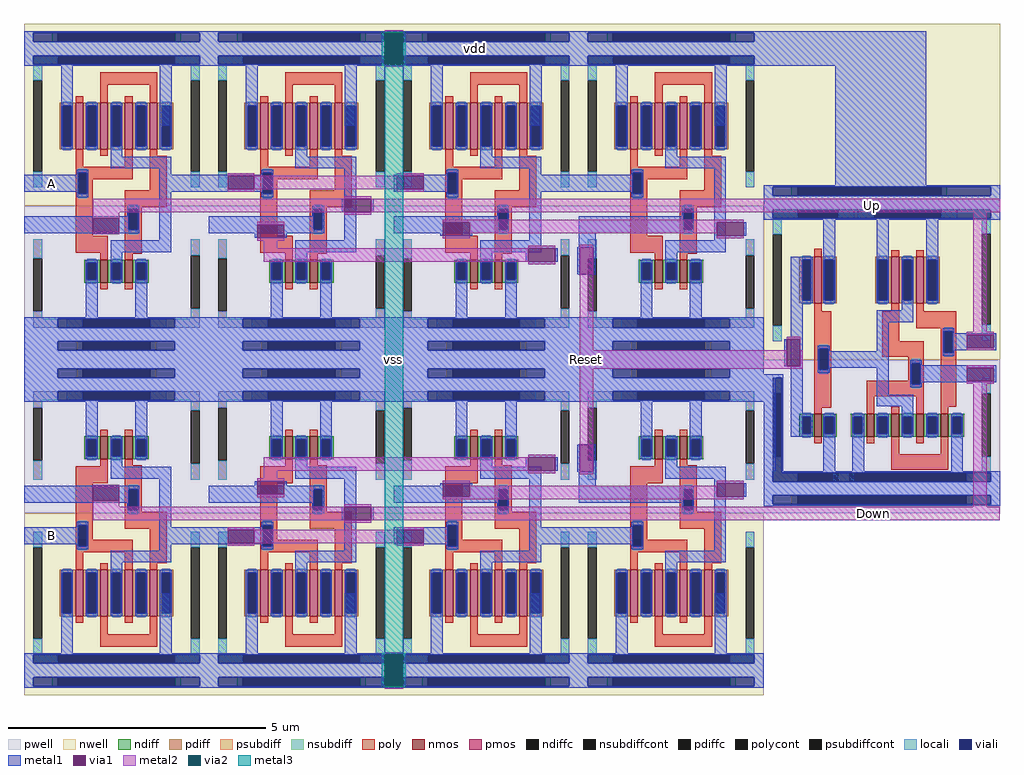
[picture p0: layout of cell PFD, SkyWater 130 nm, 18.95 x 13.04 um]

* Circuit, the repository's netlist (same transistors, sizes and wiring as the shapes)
**.subckt PFD vdd vss A B Down Up Reset
*.iopin vdd
*.iopin vss
*.ipin A
*.ipin B
*.opin Down
*.opin Up
*.iopin Reset
x1 vdd A Up Reset vss DFF
x2 vdd B Down Reset vss DFF
x3 vdd Reset Up Down vss and_pfd
**.ends

* expanding   symbol:  DFF.sym # of pins=5
* sym_path: /home/dhernando/caravel_analog_fulgor/xschem/DFF.sym
* sch_path: /home/dhernando/caravel_analog_fulgor/xschem/DFF.sch
.subckt DFF  D CLK Q Reset vss
*.ipin D
*.ipin CLK
*.opin Q
*.ipin Reset
*.iopin vss
x1 D CLK Q P vss nor
x2 D P P1 Q vss nor
x3 D P P2 P1 vss nor
x4 D P1 Reset P2 vss nor
.ends


* expanding   symbol:  and_pfd.sym # of pins=5
* sym_path: /home/dhernando/caravel_analog_fulgor/xschem/and_pfd.sym
* sch_path: /home/dhernando/caravel_analog_fulgor/xschem/and_pfd.sch
.subckt and_pfd  vdd out A B vss
*.iopin vdd
*.iopin vss
*.opin out
*.ipin A
*.ipin B
XM1 out_nand A net1 vss sky130_fd_pr__nfet_01v8 L=0.15 W=0.45 nf=1 ad='int((nf+1)/2) * W/nf * 0.29' as='int((nf+2)/2) * W/nf * 0.29'
+ pd='2*int((nf+1)/2) * (W/nf + 0.29)' ps='2*int((nf+2)/2) * (W/nf + 0.29)' nrd='0.29 / W' nrs='0.29 / W'
+ sa=0 sb=0 sd=0 mult=1 m=1 
XM2 out_nand A vdd vdd sky130_fd_pr__pfet_01v8 L=0.15 W=0.9 nf=1 ad='int((nf+1)/2) * W/nf * 0.29' as='int((nf+2)/2) * W/nf * 0.29'
+ pd='2*int((nf+1)/2) * (W/nf + 0.29)' ps='2*int((nf+2)/2) * (W/nf + 0.29)' nrd='0.29 / W' nrs='0.29 / W'
+ sa=0 sb=0 sd=0 mult=1 m=1 
XM3 net1 B vss vss sky130_fd_pr__nfet_01v8 L=0.15 W=0.45 nf=1 ad='int((nf+1)/2) * W/nf * 0.29' as='int((nf+2)/2) * W/nf * 0.29'
+ pd='2*int((nf+1)/2) * (W/nf + 0.29)' ps='2*int((nf+2)/2) * (W/nf + 0.29)' nrd='0.29 / W' nrs='0.29 / W'
+ sa=0 sb=0 sd=0 mult=1 m=1 
XM4 out_nand B net2 vss sky130_fd_pr__nfet_01v8 L=0.15 W=0.45 nf=1 ad='int((nf+1)/2) * W/nf * 0.29' as='int((nf+2)/2) * W/nf * 0.29'
+ pd='2*int((nf+1)/2) * (W/nf + 0.29)' ps='2*int((nf+2)/2) * (W/nf + 0.29)' nrd='0.29 / W' nrs='0.29 / W'
+ sa=0 sb=0 sd=0 mult=1 m=1 
XM5 net2 A vss vss sky130_fd_pr__nfet_01v8 L=0.15 W=0.45 nf=1 ad='int((nf+1)/2) * W/nf * 0.29' as='int((nf+2)/2) * W/nf * 0.29'
+ pd='2*int((nf+1)/2) * (W/nf + 0.29)' ps='2*int((nf+2)/2) * (W/nf + 0.29)' nrd='0.29 / W' nrs='0.29 / W'
+ sa=0 sb=0 sd=0 mult=1 m=1 
XM6 out_nand B vdd vdd sky130_fd_pr__pfet_01v8 L=0.15 W=0.9 nf=1 ad='int((nf+1)/2) * W/nf * 0.29' as='int((nf+2)/2) * W/nf * 0.29'
+ pd='2*int((nf+1)/2) * (W/nf + 0.29)' ps='2*int((nf+2)/2) * (W/nf + 0.29)' nrd='0.29 / W' nrs='0.29 / W'
+ sa=0 sb=0 sd=0 mult=1 m=1 
XM7 out out_nand vdd vdd sky130_fd_pr__pfet_01v8 L=0.15 W=0.9 nf=1 ad='int((nf+1)/2) * W/nf * 0.29' as='int((nf+2)/2) * W/nf * 0.29'
+ pd='2*int((nf+1)/2) * (W/nf + 0.29)' ps='2*int((nf+2)/2) * (W/nf + 0.29)' nrd='0.29 / W' nrs='0.29 / W'
+ sa=0 sb=0 sd=0 mult=1 m=1 
XM8 out out_nand vss vss sky130_fd_pr__nfet_01v8 L=0.15 W=0.45 nf=1 ad='int((nf+1)/2) * W/nf * 0.29'
+ as='int((nf+2)/2) * W/nf * 0.29' pd='2*int((nf+1)/2) * (W/nf + 0.29)' ps='2*int((nf+2)/2) * (W/nf + 0.29)'
+ nrd='0.29 / W' nrs='0.29 / W' sa=0 sb=0 sd=0 mult=1 m=1 
.ends


* expanding   symbol:  nor.sym # of pins=5
* sym_path: /home/dhernando/caravel_analog_fulgor/xschem/nor.sym
* sch_path: /home/dhernando/caravel_analog_fulgor/xschem/nor.sch
.subckt nor  vdd A B out vss
*.ipin A
*.ipin B
*.iopin vdd
*.opin out
*.iopin vss
XM1 out A vss vss sky130_fd_pr__nfet_01v8 L=0.15 W=0.45 nf=1 ad='int((nf+1)/2) * W/nf * 0.29' as='int((nf+2)/2) * W/nf * 0.29'
+ pd='2*int((nf+1)/2) * (W/nf + 0.29)' ps='2*int((nf+2)/2) * (W/nf + 0.29)' nrd='0.29 / W' nrs='0.29 / W'
+ sa=0 sb=0 sd=0 mult=1 m=1 
XM2 out B vss vss sky130_fd_pr__nfet_01v8 L=0.15 W=0.45 nf=1 ad='int((nf+1)/2) * W/nf * 0.29' as='int((nf+2)/2) * W/nf * 0.29'
+ pd='2*int((nf+1)/2) * (W/nf + 0.29)' ps='2*int((nf+2)/2) * (W/nf + 0.29)' nrd='0.29 / W' nrs='0.29 / W'
+ sa=0 sb=0 sd=0 mult=1 m=1 
XM4 out B net1 vdd sky130_fd_pr__pfet_01v8 L=0.15 W=0.9 nf=1 ad='int((nf+1)/2) * W/nf * 0.29' as='int((nf+2)/2) * W/nf * 0.29'
+ pd='2*int((nf+1)/2) * (W/nf + 0.29)' ps='2*int((nf+2)/2) * (W/nf + 0.29)' nrd='0.29 / W' nrs='0.29 / W'
+ sa=0 sb=0 sd=0 mult=1 m=1 
XM3 net1 A vdd vdd sky130_fd_pr__pfet_01v8 L=0.15 W=0.9 nf=1 ad='int((nf+1)/2) * W/nf * 0.29' as='int((nf+2)/2) * W/nf * 0.29'
+ pd='2*int((nf+1)/2) * (W/nf + 0.29)' ps='2*int((nf+2)/2) * (W/nf + 0.29)' nrd='0.29 / W' nrs='0.29 / W'
+ sa=0 sb=0 sd=0 mult=1 m=1 
XM5 net2 B vdd vdd sky130_fd_pr__pfet_01v8 L=0.15 W=0.9 nf=1 ad='int((nf+1)/2) * W/nf * 0.29' as='int((nf+2)/2) * W/nf * 0.29'
+ pd='2*int((nf+1)/2) * (W/nf + 0.29)' ps='2*int((nf+2)/2) * (W/nf + 0.29)' nrd='0.29 / W' nrs='0.29 / W'
+ sa=0 sb=0 sd=0 mult=1 m=1 
XM6 out A net2 vdd sky130_fd_pr__pfet_01v8 L=0.15 W=0.9 nf=1 ad='int((nf+1)/2) * W/nf * 0.29' as='int((nf+2)/2) * W/nf * 0.29'
+ pd='2*int((nf+1)/2) * (W/nf + 0.29)' ps='2*int((nf+2)/2) * (W/nf + 0.29)' nrd='0.29 / W' nrs='0.29 / W'
+ sa=0 sb=0 sd=0 mult=1 m=1 
.ends

** flattened .save nodes
.end

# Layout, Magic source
magic
tech sky130A
magscale 1 2
<< nwell >>
rect 2872 706 3790 1304
rect 3241 700 3768 706
<< metal1 >>
rect 1390 1234 1400 1268
rect 0 1180 1400 1234
rect 1390 1146 1400 1180
rect 1472 1234 1482 1268
rect 2836 1234 3504 1274
rect 1472 1180 3504 1234
rect 1472 1146 1482 1180
rect 2836 1140 3504 1180
rect 0 652 210 718
rect 3150 676 3504 1140
rect 3754 97 3775 101
rect 2123 36 2176 39
rect 175 30 2786 36
rect 0 -30 2872 30
rect 2952 -26 2962 78
rect 3014 -26 3024 78
rect 3651 45 3661 97
rect 3765 45 3775 97
rect 3754 35 3775 45
rect 175 -36 2123 -30
rect 2159 -36 2786 -30
rect 3752 -32 3775 -22
rect 2865 -164 2919 -58
rect 3651 -84 3661 -32
rect 3765 -84 3775 -32
rect 3716 -88 3775 -84
rect 2872 -434 2919 -164
rect 0 -718 210 -652
rect 1390 -1180 1400 -1146
rect 0 -1234 1400 -1180
rect 1390 -1268 1400 -1234
rect 1472 -1180 1482 -1146
rect 1472 -1234 2872 -1180
rect 1472 -1268 1482 -1234
<< via1 >>
rect 1400 1146 1472 1268
rect 2962 -26 3014 78
rect 3661 45 3765 97
rect 3661 -84 3765 -32
rect 1400 -1268 1472 -1146
<< metal2 >>
rect 1400 1268 1472 1278
rect 1400 1136 1472 1146
rect 2802 572 3790 624
rect 2159 36 2211 436
rect 3686 107 3738 572
rect 3661 97 3765 107
rect 2962 78 3014 88
rect 2159 -26 2962 36
rect 3014 -26 3024 36
rect 3661 35 3765 45
rect 2159 -36 3024 -26
rect 3661 -32 3765 -22
rect 2159 -436 2211 -36
rect 3661 -94 3765 -84
rect 3686 -572 3738 -94
rect 2806 -624 3789 -572
rect 1400 -1146 1472 -1136
rect 1400 -1278 1472 -1268
<< via2 >>
rect 1400 1146 1472 1268
rect 1400 -1268 1472 -1146
<< metal3 >>
rect 1390 1268 1482 1273
rect 1390 1146 1400 1268
rect 1472 1146 1482 1268
rect 1390 1141 1482 1146
rect 1400 -1141 1472 1141
rect 1390 -1146 1482 -1141
rect 1390 -1268 1400 -1146
rect 1472 -1268 1482 -1146
rect 1390 -1273 1482 -1268
use dff_pfd  dff_pfd_1
transform 1 0 0 0 -1 0
box 0 0 2872 1304
use dff_pfd  dff_pfd_0
transform 1 0 0 0 1 0
box 0 0 2872 1304
use and_pfd  and_pfd_0
transform -1 0 3790 0 1 -598
box 0 0 918 1304
<< labels >>
rlabel metal1 0 652 210 718 1 A
rlabel metal1 0 -718 210 -652 1 B
rlabel metal1 0 -30 2872 30 1 vss
rlabel metal2 2802 572 3790 624 1 Up
rlabel metal2 2806 -624 3789 -572 1 Down
rlabel metal1 0 1180 3504 1234 1 vdd
rlabel metal2 2159 -436 2211 436 1 Reset
<< end >>

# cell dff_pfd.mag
magic
tech sky130A
magscale 1 2
<< metal1 >>
rect 0 1180 2872 1234
rect 0 652 210 718
rect 545 714 846 718
rect 545 662 791 714
rect 895 662 905 714
rect 1438 662 1448 714
rect 1552 662 1562 714
rect 545 652 846 662
rect 1979 652 2308 718
rect 1234 572 1244 624
rect 1348 572 1358 624
rect 256 497 266 549
rect 370 497 380 549
rect 896 472 906 524
rect 1010 472 1020 524
rect 1616 481 1626 533
rect 1730 481 1740 533
rect 2154 436 2220 557
rect 2680 481 2690 533
rect 2794 481 2804 533
rect 1949 380 1959 432
rect 2063 380 2073 432
rect 2149 332 2159 436
rect 2211 332 2221 436
rect 2154 329 2220 332
rect 0 70 2872 124
<< via1 >>
rect 791 662 895 714
rect 1448 662 1552 714
rect 1244 572 1348 624
rect 266 497 370 549
rect 906 472 1010 524
rect 1626 481 1730 533
rect 2690 481 2794 533
rect 1959 380 2063 432
rect 2159 332 2211 436
<< metal2 >>
rect 791 714 895 724
rect 1448 714 1552 724
rect 895 662 1448 714
rect 791 652 895 662
rect 1448 652 1552 662
rect 1244 624 1348 634
rect 266 572 1244 624
rect 1348 572 2872 624
rect 266 549 370 572
rect 1244 562 1348 572
rect 266 487 370 497
rect 906 524 1010 534
rect 906 462 1010 472
rect 1626 533 2794 543
rect 1730 491 2690 533
rect 1626 471 1730 481
rect 2690 471 2794 481
rect 931 432 983 462
rect 1959 432 2063 442
rect 931 380 1959 432
rect 1959 370 2063 380
rect 2159 436 2211 446
rect 2159 322 2211 332
use nor_pfd  nor_pfd_0
transform 1 0 235 0 1 -468
box -235 468 483 1772
use nor_pfd  nor_pfd_1
transform 1 0 953 0 1 -468
box -235 468 483 1772
use nor_pfd  nor_pfd_2
transform 1 0 1671 0 1 -468
box -235 468 483 1772
use nor_pfd  nor_pfd_3
transform 1 0 2389 0 1 -468
box -235 468 483 1772
<< labels >>
rlabel metal1 0 652 210 718 1 CLK
rlabel metal1 0 1180 2872 1234 1 vdd
rlabel metal1 0 70 2872 124 1 vss
rlabel metal2 2768 572 2872 624 1 Q
rlabel via1 2159 332 2211 436 1 Reset
<< end >>

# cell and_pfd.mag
magic
tech sky130A
magscale 1 2
<< nwell >>
rect 0 1216 918 1304
rect 0 598 96 1216
<< pwell >>
rect 0 0 918 88
<< psubdiff >>
rect 108 36 132 70
rect 786 36 810 70
<< nsubdiff >>
rect 204 1234 228 1268
rect 786 1234 810 1268
rect 36 1146 213 1180
rect 552 1146 616 1180
rect 36 1087 70 1146
rect 36 671 70 733
<< psubdiffcont >>
rect 132 36 786 70
<< nsubdiffcont >>
rect 228 1234 786 1268
rect 36 733 70 1087
<< poly >>
rect 170 720 326 786
rect 170 707 230 720
rect 170 625 183 707
rect 217 625 230 707
rect 392 669 458 786
rect 170 414 230 625
rect 296 609 458 669
rect 656 640 722 786
rect 296 584 356 609
rect 296 502 309 584
rect 343 502 356 584
rect 296 456 356 502
rect 656 558 667 640
rect 701 558 722 640
rect 656 410 722 558
<< polycont >>
rect 183 625 217 707
rect 309 502 343 584
rect 667 558 701 640
<< locali >>
rect 36 1087 70 1146
rect 36 671 70 733
rect 183 707 217 723
rect 183 609 217 625
rect 667 640 701 656
rect 309 584 343 600
rect 667 542 701 558
rect 309 486 343 502
<< viali >>
rect 36 1234 228 1268
rect 228 1234 786 1268
rect 786 1234 882 1268
rect 36 1146 882 1180
rect 183 625 217 707
rect 309 502 343 584
rect 667 558 701 640
rect 848 158 882 528
rect 36 124 882 158
rect 36 36 132 70
rect 132 36 786 70
rect 786 36 882 70
<< metal1 >>
rect 0 1268 918 1274
rect 0 1234 36 1268
rect 882 1234 918 1268
rect 0 1180 918 1234
rect 0 1146 36 1180
rect 882 1146 918 1180
rect 0 1140 918 1146
rect 240 997 286 1140
rect 432 985 478 1140
rect 640 988 686 1140
rect 336 789 382 829
rect 336 743 478 789
rect 177 707 223 719
rect 177 699 183 707
rect 36 633 183 699
rect 177 625 183 633
rect 217 625 223 707
rect 177 613 223 625
rect 432 631 478 743
rect 661 640 707 652
rect 661 631 667 640
rect 303 584 349 596
rect 303 576 309 584
rect 36 510 309 576
rect 303 502 309 510
rect 343 502 349 584
rect 303 490 349 502
rect 432 565 667 631
rect 432 462 478 565
rect 661 558 667 565
rect 701 558 707 640
rect 661 546 707 558
rect 336 416 478 462
rect 336 388 382 416
rect 144 164 190 307
rect 528 164 574 308
rect 640 164 686 302
rect 766 298 812 997
rect 842 528 888 540
rect 842 164 848 528
rect 0 158 848 164
rect 882 164 888 528
rect 0 124 36 158
rect 882 124 918 164
rect 0 70 918 124
rect 0 36 36 70
rect 882 36 918 70
rect 0 30 918 36
rect 884 28 918 30
use sky130_fd_pr__pfet_01v8_7T83YG  sky130_fd_pr__pfet_01v8_7T83YG_0
transform 1 0 359 0 1 907
box -263 -309 263 309
use sky130_fd_pr__nfet_01v8_ZCYAJJ  sky130_fd_pr__nfet_01v8_ZCYAJJ_0
transform 1 0 359 0 1 343
box -359 -255 359 255
use sky130_fd_pr__nfet_01v8_ZXAV3F  sky130_fd_pr__nfet_01v8_ZXAV3F_0
transform 1 0 707 0 1 343
box -211 -255 211 255
use sky130_fd_pr__pfet_01v8_4F7GBC  sky130_fd_pr__pfet_01v8_4F7GBC_0
transform 1 0 707 0 1 907
box -211 -309 211 309
<< labels >>
rlabel metal1 0 70 918 124 1 vss
rlabel metal1 0 1180 918 1234 1 vdd
rlabel metal1 36 633 183 699 1 A
rlabel metal1 36 510 309 576 1 B
rlabel metal1 766 298 812 997 1 out
<< end >>

# cell sky130_fd_pr__pfet_01v8_7T83YG: kit device sky130_fd_pr__pfet_01v8, w 0.9 l 0.15 m 1 nf 2 diffcov 100 polycov 100 guard 1 glc 1 grc 1 gtc 1 gbc 0 tbcov 100 rlcov 100 topc 0 botc 1 poverlap 0 doverlap 1 lmin 0.15 wmin 0.42 compatible {sky130_fd_pr__pfet_01v8 sky130_fd_pr__pfet_01v8_lvt sky130_fd_pr__pfet_01v8_hvt sky130_fd_pr__pfet_g5v0d10v5} full_metal 1 viasrc 100 viadrn 100 viagate 100 viagb 0 viagr 0 viagl 0 viagt 0

# cell sky130_fd_pr__nfet_01v8_ZCYAJJ: kit device sky130_fd_pr__nfet_01v8, w 0.45 l 0.150 m 1 nf 4 diffcov 100 polycov 100 guard 1 glc 1 grc 1 gtc 0 gbc 1 tbcov 100 rlcov 100 topc 1 botc 1 poverlap 0 doverlap 1 lmin 0.15 wmin 0.42 compatible {sky130_fd_pr__nfet_01v8 sky130_fd_pr__nfet_01v8_lvt sky130_fd_bs_flash__special_sonosfet_star sky130_fd_pr__nfet_g5v0d10v5 sky130_fd_pr__nfet_05v0_nvt sky130_fd_pr__nfet_03v3_nvt} full_metal 1 viasrc 100 viadrn 100 viagate 100 viagb 0 viagr 0 viagl 0 viagt 0

# cell sky130_fd_pr__nfet_01v8_ZXAV3F: kit device sky130_fd_pr__nfet_01v8, w 0.45 l 0.150 m 1 nf 1 diffcov 100 polycov 100 guard 1 glc 1 grc 1 gtc 0 gbc 1 tbcov 100 rlcov 100 topc 1 botc 1 poverlap 0 doverlap 1 lmin 0.15 wmin 0.42 compatible {sky130_fd_pr__nfet_01v8 sky130_fd_pr__nfet_01v8_lvt sky130_fd_bs_flash__special_sonosfet_star sky130_fd_pr__nfet_g5v0d10v5 sky130_fd_pr__nfet_05v0_nvt sky130_fd_pr__nfet_03v3_nvt} full_metal 1 viasrc 100 viadrn 100 viagate 100 viagb 0 viagr 0 viagl 0 viagt 0

# cell sky130_fd_pr__pfet_01v8_4F7GBC: kit device sky130_fd_pr__pfet_01v8, w 0.9 l 0.15 m 1 nf 1 diffcov 100 polycov 100 guard 1 glc 1 grc 1 gtc 1 gbc 0 tbcov 100 rlcov 100 topc 1 botc 1 poverlap 0 doverlap 1 lmin 0.15 wmin 0.42 compatible {sky130_fd_pr__pfet_01v8 sky130_fd_pr__pfet_01v8_lvt sky130_fd_pr__pfet_01v8_hvt sky130_fd_pr__pfet_g5v0d10v5} full_metal 1 viasrc 100 viadrn 100 viagate 100 viagb 0 viagr 0 viagl 0 viagt 0

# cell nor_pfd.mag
magic
tech sky130A
magscale 1 2
<< nwell >>
rect -235 1684 483 1772
<< pwell >>
rect -235 1054 -139 1066
rect 409 1064 483 1066
rect -235 922 -131 1054
rect -235 556 -139 922
rect 387 556 483 1064
rect -235 468 483 556
<< psubdiff >>
rect -199 861 -165 934
rect -199 626 -165 655
rect 413 872 447 934
rect 413 626 447 666
rect -199 592 -23 626
rect 255 592 447 626
rect -31 504 -7 538
rect 255 504 279 538
<< nsubdiff >>
rect -127 1702 -103 1736
rect 351 1702 375 1736
<< psubdiffcont >>
rect -199 655 -165 861
rect 413 666 447 872
rect -7 504 255 538
<< nsubdiffcont >>
rect -103 1702 351 1736
<< poly >>
rect -35 1193 31 1217
rect -35 1111 -25 1193
rect 9 1111 31 1193
rect 253 1125 319 1259
rect -35 948 31 1111
rect 157 1059 319 1125
rect 157 1053 223 1059
rect 157 971 172 1053
rect 206 971 223 1053
rect -35 882 61 948
rect 157 878 223 971
<< polycont >>
rect -25 1111 9 1193
rect 172 971 206 1053
<< locali >>
rect -25 1193 9 1209
rect -25 1095 9 1111
rect 172 1053 206 1069
rect 172 955 206 971
rect -199 861 -165 934
rect -199 626 -165 655
rect 413 872 447 934
rect 413 626 447 666
rect -199 592 -103 626
rect 351 592 447 626
<< viali >>
rect -199 1702 -103 1736
rect -103 1702 351 1736
rect 351 1702 447 1736
rect -199 1614 447 1648
rect -25 1111 9 1193
rect 172 971 206 1053
rect -103 592 351 626
rect -103 504 -7 538
rect -7 504 255 538
rect 255 504 351 538
<< metal1 >>
rect -235 1736 483 1742
rect -235 1702 -199 1736
rect 447 1702 483 1736
rect -235 1648 483 1702
rect -235 1614 -199 1648
rect 447 1614 483 1648
rect -235 1608 483 1614
rect -91 1463 -45 1608
rect 293 1463 339 1608
rect 293 1375 329 1463
rect 101 1256 147 1297
rect 101 1210 337 1256
rect -31 1193 15 1205
rect -31 1186 -25 1193
rect -235 1120 -25 1186
rect -31 1111 -25 1120
rect 9 1111 15 1193
rect -31 1099 15 1111
rect 166 1053 212 1065
rect 166 1025 172 1053
rect -235 971 172 1025
rect 206 971 212 1053
rect -235 959 212 971
rect 291 931 337 1210
rect 101 885 337 931
rect 101 855 147 885
rect 5 632 51 774
rect 197 632 243 776
rect -235 626 483 632
rect -235 592 -103 626
rect 351 592 483 626
rect -235 538 483 592
rect -235 504 -103 538
rect 351 504 483 538
rect -235 498 483 504
use sky130_fd_pr__nfet_01v8_C3YG4M  sky130_fd_pr__nfet_01v8_C3YG4M_0
transform 1 0 124 0 1 811
box -263 -255 263 255
use sky130_fd_pr__pfet_01v8_4F35BC  sky130_fd_pr__pfet_01v8_4F35BC_0
transform 1 0 124 0 1 1375
box -359 -309 359 309
<< labels >>
rlabel metal1 -235 1648 483 1702 1 vdd
rlabel metal1 -235 538 483 592 1 vss
rlabel metal1 -235 1120 -25 1186 1 A
rlabel metal1 -235 959 172 1025 1 B
rlabel metal1 291 885 337 1256 1 out
<< end >>

# cell sky130_fd_pr__nfet_01v8_C3YG4M: kit device sky130_fd_pr__nfet_01v8, w 0.45 l 0.150 m 1 nf 2 diffcov 100 polycov 100 guard 1 glc 1 grc 1 gtc 0 gbc 1 tbcov 100 rlcov 100 topc 1 botc 1 poverlap 0 doverlap 1 lmin 0.15 wmin 0.42 compatible {sky130_fd_pr__nfet_01v8 sky130_fd_pr__nfet_01v8_lvt sky130_fd_bs_flash__special_sonosfet_star sky130_fd_pr__nfet_g5v0d10v5 sky130_fd_pr__nfet_05v0_nvt sky130_fd_pr__nfet_03v3_nvt} full_metal 1 viasrc 100 viadrn 100 viagate 100 viagb 0 viagr 0 viagl 0 viagt 0

# cell sky130_fd_pr__pfet_01v8_4F35BC: kit device sky130_fd_pr__pfet_01v8, w 0.9 l 0.15 m 1 nf 4 diffcov 100 polycov 100 guard 1 glc 1 grc 1 gtc 1 gbc 0 tbcov 100 rlcov 100 topc 1 botc 1 poverlap 0 doverlap 1 lmin 0.15 wmin 0.42 compatible {sky130_fd_pr__pfet_01v8 sky130_fd_pr__pfet_01v8_lvt sky130_fd_pr__pfet_01v8_hvt sky130_fd_pr__pfet_g5v0d10v5} full_metal 1 viasrc 100 viadrn 100 viagate 100 viagb 0 viagr 0 viagl 0 viagt 0
